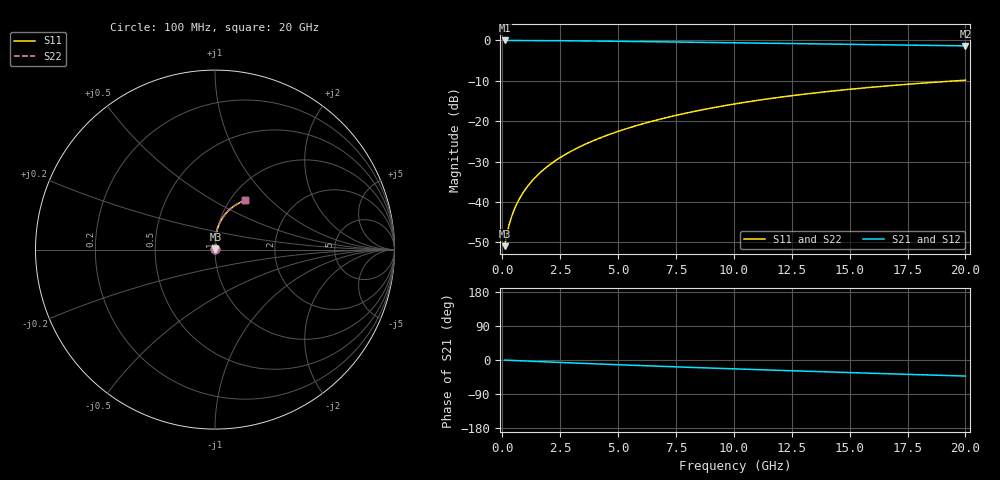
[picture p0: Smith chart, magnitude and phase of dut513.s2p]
! Touchstone file exported from HFSS 2024.1.0
!  File:  C:/UserFiles/LocalFiles/RDL_TSV_Batchsim/temp_RDL_bottom_513_1779687765.aedt
!  Generated:  01:45:09 PM May 25, 2026
!  Design:  RDL_bottom
!  Project:  temp_RDL_bottom_513_1779687765
!  Setup:  Setup1
!  Solution:  Sweep
! Variables:
!  dtsv = 10.80580581um
!  hbump = 3um
!  htsv = 70.81um
!  ldown = 653.35um
!  lrdl = 100um
!  p = 40
!  p1 = 46.82um
!  rhole = 1um
!  t = 450um
!  tdown = 4.38um
!  trdl = 3.915915916um
!  wdown = 24.95um
!  wrdl = 20um
# GHz S MA R 50.000000
! Terminal data exported
! Port[1] = RDL1_T1
! Port[2] = RDL1_T2
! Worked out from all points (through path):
!   200 points, 100 MHz to 20 GHz, reference 50 ohm
!   highest |S21| = -0.02 dB at 100 MHz (marker M1); lowest = -1.4 dB at 20 GHz (marker M2)
!   group delay of S21, straight-line fit = 5.81 ps
!   lowest |S11| = -50.9 dB at 100 MHz (marker M3), VSWR 1.01, Z = 50.2 + j0.164 ohm
!   |S11| at or under -10 dB: start of sweep to 19.61 GHz
!   |S22| runs from -50.9 to -9.8 dB; largest |S21 - S12| = 3.3e-15
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0.1  0.002848 35.0  0.9977 -0.3  0.9977 -0.3  0.002848 35.0
! Gamma 0 0 0 0
! Port Impedance 50 0 50 0
0.2  0.004033 51.7  0.9974 -0.5  0.9974 -0.5  0.004033 51.7
0.3  0.005309 59.8  0.9972 -0.8  0.9972 -0.8  0.005308 59.8
0.4  0.006582 64.9  0.997 -1.1  0.997 -1.1  0.006581 64.9
0.5  0.007857 68.5  0.9968 -1.3  0.9968 -1.3  0.007856 68.5
0.6  0.009142 71.3  0.9967 -1.6  0.9967 -1.6  0.009141 71.3
0.8  0.01175 75.3  0.9963 -2.1  0.9963 -2.1  0.01175 75.3
1.1  0.01576 79.0  0.9956 -2.9  0.9956 -2.9  0.01576 79.0
1.3  0.01849 80.7  0.9951 -3.4  0.9951 -3.4  0.01849 80.7
1.6  0.02265 82.5  0.9941 -4.2  0.9941 -4.2  0.02265 82.5
2.1  0.02974 84.4  0.9922 -5.4  0.9922 -5.4  0.02974 84.4
2.7  0.03851 85.7  0.9894 -6.9  0.9894 -6.9  0.03852 85.7
3.5  0.05066 86.4  0.9847 -8.9  0.9847 -8.9  0.05068 86.5
4.2  0.06172 86.6  0.9801 -10.6  0.9801 -10.6  0.06176 86.6
5  0.07483 86.3  0.9743 -12.5  0.9743 -12.5  0.07488 86.3
6.8  0.1058 84.4  0.9602 -16.6  0.9602 -16.6  0.1059 84.5
8.4  0.1343 81.8  0.9471 -20.0  0.9471 -20.0  0.1344 81.9
10.1  0.1647 78.6  0.9331 -23.6  0.9331 -23.6  0.1649 78.7
11.7  0.193 75.4  0.9201 -26.8  0.9201 -26.8  0.1932 75.4
13.4  0.2221 71.8  0.9065 -30.2  0.9065 -30.2  0.2223 71.9
16.7  0.2747 65.0  0.8804 -36.4  0.8804 -36.4  0.2751 65.1
20  0.3215 58.5  0.8552 -42.4  0.8552 -42.4  0.3219 58.6
